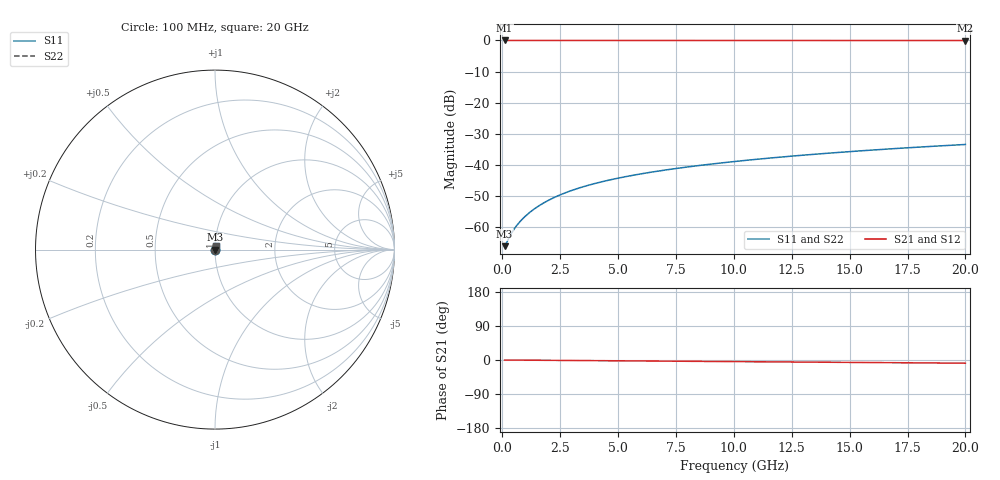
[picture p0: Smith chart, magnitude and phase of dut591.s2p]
! Touchstone file exported from HFSS 2026.1.0
!  File:  C:/ffzhzh/LocalFiles/Ansys_Project_Files/temp_train_TSV_591_1783025244_46388.aedt
!  Generated:  04:49:42 AM Jul  3, 2026
!  Design:  TSV
!  Project:  temp_train_TSV_591_1783025244_46388
! Variables:
!  h_bsmrdl = 2um
!  h_ox = 20um
!  h_rdl = 5um
!  h_sub = 88.87um
!  h_tmrdl = 5um
!  h_tsv = 88.87um
!  h_via = 3um
!  l_bsmrdl = 300um
!  l_sub = 409.7um
!  l_tmrdl = 200um
!  m_sub = 200um
!  pitch = 24.07um
!  r_tsv = 4.85um
!  s_tmrdl = 10um
!  w_bsmrdl = 18um
!  w_sub = 500um
!  w_tmrdl = 12um
!  x_tsv_center1 = 206um
!  x_tsv_center2 = 524um
!  x_tsv_center3 = 736um
!  x_tsv_center4 = 1054um
!  x_tsv_center5 = 1266um
!  x_tsv_center6 = 1584um
# GHz S MA R 50.000000
! Terminal data exported
! Port[1] = TSV1_1_T1
! Port[2] = TSV1_1_T2
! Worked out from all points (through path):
!   200 points, 100 MHz to 20 GHz, reference 50 ohm
!   highest |S21| = 0.00 dB at 100 MHz (marker M1); lowest = 0.0 dB at 20 GHz (marker M2)
!   group delay of S21, straight-line fit = 1.16 ps
!   lowest |S11| = -66.1 dB at 100 MHz (marker M3), VSWR 1.00, Z = 50 + j0.016 ohm
!   |S11| at or under -10 dB: start of sweep to end of sweep
!   |S22| runs from -66.1 to -33.4 dB; largest |S21 - S12| = 2.6e-15
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0.1  0.0004936 18.9  0.9995 -0.0  0.9995 -0.0  0.0004936 18.9
! Gamma 0 0 0 0
! Port Impedance 50 0 50 0
0.4  0.0007985 48.5  0.9995 -0.2  0.9995 -0.2  0.0007985 48.5
0.6  0.001032 56.3  0.9994 -0.3  0.9994 -0.3  0.001032 56.3
0.7  0.001149 59.0  0.9994 -0.3  0.9994 -0.3  0.001149 59.0
0.9  0.001384 63.1  0.9994 -0.4  0.9994 -0.4  0.001384 63.1
1.1  0.001621 66.0  0.9993 -0.5  0.9993 -0.5  0.001621 66.0
1.3  0.00186 68.2  0.9993 -0.6  0.9993 -0.6  0.00186 68.2
1.5  0.0021 69.9  0.9993 -0.7  0.9993 -0.7  0.0021 69.9
1.8  0.002462 71.6  0.9992 -0.8  0.9992 -0.8  0.002462 71.6
2.3  0.003061 73.5  0.9992 -1.0  0.9992 -1.0  0.003061 73.5
2.9  0.003768 74.7  0.9991 -1.3  0.9991 -1.3  0.003768 74.7
3.5  0.004459 75.3  0.999 -1.5  0.999 -1.5  0.004459 75.3
4.2  0.005244 75.7  0.9989 -1.8  0.9989 -1.8  0.005244 75.7
5  0.006118 76.0  0.9987 -2.1  0.9987 -2.1  0.006118 76.0
5.9  0.007078 76.2  0.9986 -2.5  0.9986 -2.5  0.007078 76.2
6.8  0.00802 76.4  0.9985 -2.9  0.9985 -2.9  0.00802 76.4
8.3  0.009567 76.5  0.9983 -3.5  0.9983 -3.5  0.009567 76.5
10.1  0.0114 76.5  0.9981 -4.3  0.9981 -4.3  0.0114 76.5
11.7  0.01302 76.4  0.998 -4.9  0.998 -4.9  0.01302 76.4
13.4  0.01474 76.2  0.9978 -5.7  0.9978 -5.7  0.01474 76.2
16.7  0.01803 75.6  0.9975 -7.0  0.9975 -7.0  0.01803 75.6
20  0.02127 74.7  0.9972 -8.4  0.9972 -8.4  0.02127 74.7
